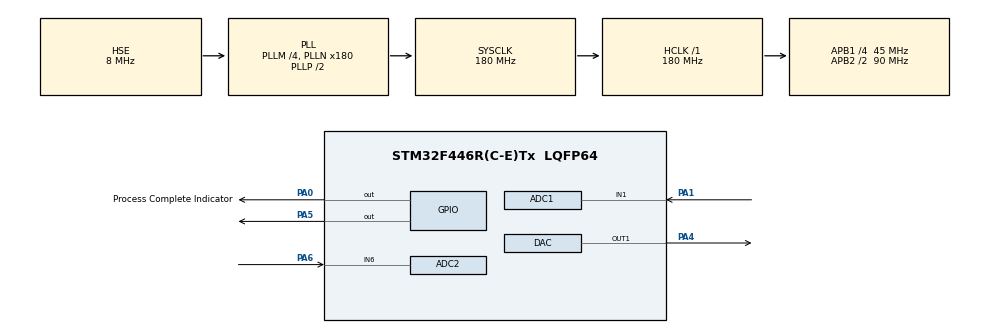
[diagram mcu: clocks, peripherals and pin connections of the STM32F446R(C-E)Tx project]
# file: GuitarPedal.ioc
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ADC1.Channel-0\#ChannelRegularConversion=ADC_CHANNEL_1
ADC1.ClockPrescaler=ADC_CLOCK_SYNC_PCLK_DIV4
ADC1.DMAContinuousRequests=ENABLE
ADC1.ExternalTrigConv=ADC_EXTERNALTRIGCONV_T2_TRGO
ADC1.NbrOfConversionFlag=1
ADC1.Rank-0\#ChannelRegularConversion=1
ADC1.SamplingTime-0\#ChannelRegularConversion=ADC_SAMPLETIME_15CYCLES
ADC1.master=1
ADC2.Channel-1\#ChannelRegularConversion=ADC_CHANNEL_6
ADC2.DMAContinuousRequests=ENABLE
ADC2.DiscontinuousConvMode=DISABLE
ADC2.EOCSelection=ADC_EOC_SEQ_CONV
ADC2.ExternalTrigConv=ADC_EXTERNALTRIGCONV_T3_TRGO
ADC2.NbrOfConversion=1
ADC2.NbrOfConversionFlag=1
ADC2.Rank-1\#ChannelRegularConversion=1
ADC2.SamplingTime-1\#ChannelRegularConversion=ADC_SAMPLETIME_28CYCLES
ADC2.ScanConvMode=DISABLE
DAC.DAC_Trigger=DAC_TRIGGER_T2_TRGO
Dma.ADC1.1.Direction=DMA_PERIPH_TO_MEMORY
Dma.ADC1.1.FIFOMode=DMA_FIFOMODE_DISABLE
Dma.ADC1.1.Instance=DMA2_Stream0
Dma.ADC1.1.MemDataAlignment=DMA_MDATAALIGN_HALFWORD
Dma.ADC1.1.MemInc=DMA_MINC_ENABLE
Dma.ADC1.1.Mode=DMA_CIRCULAR
Dma.ADC1.1.PeriphDataAlignment=DMA_PDATAALIGN_HALFWORD
Dma.ADC1.1.PeriphInc=DMA_PINC_DISABLE
Dma.ADC1.1.Priority=DMA_PRIORITY_HIGH
Dma.ADC2.2.Direction=DMA_PERIPH_TO_MEMORY
Dma.ADC2.2.FIFOMode=DMA_FIFOMODE_DISABLE
Dma.ADC2.2.Instance=DMA2_Stream2
Dma.ADC2.2.MemDataAlignment=DMA_MDATAALIGN_HALFWORD
Dma.ADC2.2.MemInc=DMA_MINC_ENABLE
Dma.ADC2.2.Mode=DMA_CIRCULAR
Dma.ADC2.2.PeriphDataAlignment=DMA_PDATAALIGN_HALFWORD
Dma.ADC2.2.PeriphInc=DMA_PINC_DISABLE
Dma.ADC2.2.Priority=DMA_PRIORITY_LOW
Dma.DAC1.0.Direction=DMA_MEMORY_TO_PERIPH
Dma.DAC1.0.FIFOMode=DMA_FIFOMODE_DISABLE
Dma.DAC1.0.Instance=DMA1_Stream5
Dma.DAC1.0.MemDataAlignment=DMA_MDATAALIGN_HALFWORD
Dma.DAC1.0.MemInc=DMA_MINC_ENABLE
Dma.DAC1.0.Mode=DMA_CIRCULAR
Dma.DAC1.0.PeriphDataAlignment=DMA_PDATAALIGN_HALFWORD
Dma.DAC1.0.PeriphInc=DMA_PINC_DISABLE
Dma.DAC1.0.Priority=DMA_PRIORITY_HIGH
Dma.Request0=DAC1
Dma.Request1=ADC1
Dma.Request2=ADC2
Mcu.Family=STM32F4
Mcu.Name=STM32F446R(C-E)Tx
Mcu.Package=LQFP64
NVIC.DMA1_Stream5_IRQn=true\:0\:0\:false\:false\:true\:false\:true\:true
NVIC.DMA2_Stream0_IRQn=true\:0\:0\:false\:false\:true\:false\:true\:true
NVIC.DMA2_Stream2_IRQn=true\:0\:0\:false\:false\:true\:false\:true\:true
NVIC.PriorityGroup=NVIC_PRIORITYGROUP_4
PA0-WKUP.GPIO_Label=Process Complete Indicator
PA0-WKUP.Signal=GPIO_Output
PA1.Signal=ADCx_IN1
PA4.Signal=COMP_DAC1_group
PA5.Signal=GPIO_Output
PA6.Signal=ADCx_IN6
PH0-OSC_IN.Mode=HSE-External-Oscillator
PH0-OSC_IN.Signal=RCC_OSC_IN
PH1-OSC_OUT.Mode=HSE-External-Oscillator
PH1-OSC_OUT.Signal=RCC_OSC_OUT
ProjectManager.HeapSize=0x200
ProjectManager.StackSize=0x400
ProjectManager.TargetToolchain=STM32CubeIDE
RCC.AHBFreq_Value=180000000
RCC.APB1CLKDivider=RCC_HCLK_DIV4
RCC.APB1Freq_Value=45000000
RCC.APB1TimFreq_Value=90000000
RCC.APB2CLKDivider=RCC_HCLK_DIV2
RCC.APB2Freq_Value=90000000
RCC.APB2TimFreq_Value=180000000
RCC.CortexFreq_Value=180000000
RCC.HCLKFreq_Value=180000000
RCC.HSE_VALUE=8000000
RCC.PLLM=4
RCC.PLLN=180
RCC.PLLSourceVirtual=RCC_PLLSOURCE_HSE
RCC.SYSCLKFreq_VALUE=180000000
RCC.SYSCLKSource=RCC_SYSCLKSOURCE_PLLCLK
RCC.USBFreq_Value=180000000
RCC.VCOOutputFreq_Value=360000000
SH.ADCx_IN1.0=ADC1_IN1,IN1
SH.ADCx_IN6.0=ADC2_IN6,IN6
SH.COMP_DAC1_group.0=DAC_OUT1,DAC_OUT1
TIM2.AutoReloadPreload=TIM_AUTORELOAD_PRELOAD_ENABLE
TIM2.Period=468
TIM2.TIM_MasterOutputTrigger=TIM_TRGO_UPDATE
TIM3.AutoReloadPreload=TIM_AUTORELOAD_PRELOAD_ENABLE
TIM3.Period=8999
TIM3.Prescaler=9
TIM3.TIM_MasterOutputTrigger=TIM_TRGO_UPDATE
TIM6.AutoReloadPreload=TIM_AUTORELOAD_PRELOAD_ENABLE
TIM6.Period=468
TIM6.TIM_MasterOutputTrigger=TIM_TRGO_UPDATE
VP_TIM2_VS_ClockSourceINT.Mode=Internal
VP_TIM3_VS_ClockSourceINT.Mode=Internal
VP_TIM6_VS_ClockSourceINT.Mode=Enable_Timer
board=custom

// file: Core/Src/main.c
/* USER CODE BEGIN Header */
/**
 ******************************************************************************
 * @file           : main.c
 * @brief          : Main program body
 ******************************************************************************
 * @attention
 *
 * Copyright (c) 2026 STMicroelectronics.
 * All rights reserved.
 *
 * This software is licensed under terms that can be found in the LICENSE file
 * in the root directory of this software component.
 * If no LICENSE file comes with this software, it is provided AS-IS.
 *
 ******************************************************************************
 */
/* USER CODE END Header */
#include "main.h"
#include "adc.h"
#include "dac.h"
#include "dma.h"
#include "tim.h"
#include "gpio.h"

/* USER CODE BEGIN Includes */
#include <math.h>
#include <stdio.h>
#include <string.h>
#include "ola.h"
#include "arm_math.h"
#include "phase_vocoder.h"
/* USER CODE END Includes */

/* USER CODE BEGIN PTD */
#define FIR_NUM_TAPS 80
#define POLYPHASE_TAPS 20
#define UPSAMPLE_FACTOR 4
#define DOWNSAMPLE_FACTOR 4
#define WSOLA

typedef struct _Biquad
{
  float b0, b1, b2;
  float a1, a2;
  float x1, x2;
  float y1, y2;
} Biquad;
/* USER CODE END PTD */

/* USER CODE BEGIN PD */
#define BUFFER_SIZE 256
#define UPSAMPLE_BUFFER_SIZE (UPSAMPLE_FACTOR * BUFFER_SIZE)
// FIR_NUM_TAPS defined in the private typedef section; it is used by FIR struct

/* USER CODE END PD */

/* USER CODE BEGIN PV */
static float decim_state[FIR_NUM_TAPS + UPSAMPLE_BUFFER_SIZE - 1];
static float interp_state[FIR_NUM_TAPS / UPSAMPLE_FACTOR + BUFFER_SIZE - 1];

const float h_decimation_coeffs[FIR_NUM_TAPS] = {
    -0.00046170067f,
    -0.0006826209f,
    -0.00052289446f,
    9.0989922e-19f,
    0.00066670505f,
    0.0010935766f,
    0.00090502407f,
    -1.4736314e-18f,
    -0.001250687f,
    -0.0020762829f,
    -0.0017179494f,
    2.4273441e-18f,
    0.0023232347f,
    0.0037952333f,
    0.0030862971f,
    -3.6728746e-18f,
    -0.0040320467f,
    -0.0064817758f,
    -0.0051934653f,
    5.0820239e-18f,
    0.0066164049f,
    0.010529813f,
    0.0083678022f,
    -6.5097524e-18f,
    -0.010550481f,
    -0.016761257f,
    -0.013331607f,
    7.8091081e-18f,
    0.017002164f,
    0.02733178f,
    0.022115644f,
    -8.846352e-18f,
    -0.029864374f,
    -0.050256344f,
    -0.043358808f,
    9.5147237e-18f,
    0.0740235f,
    0.15820688f,
    0.22474334f,
    0.25f,
    0.22474334f,
    0.15820688f,
    0.0740235f,
    9.5147237e-18f,
    -0.043358808f,
    -0.050256344f,
    -0.029864374f,
    -8.846352e-18f,
    0.022115644f,
    0.02733178f,
    0.017002164f,
    7.8091081e-18f,
    -0.013331607f,
    -0.016761257f,
    -0.010550481f,
    -6.5097524e-18f,
    0.0083678022f,
    0.010529813f,
    0.0066164049f,
    5.0820239e-18f,
    -0.0051934653f,
    -0.0064817758f,
    -0.0040320467f,
    -3.6728746e-18f,
    0.0030862971f,
    0.0037952333f,
    0.0023232347f,
    2.4273441e-18f,
    -0.0017179494f,
    -0.0020762829f,
    -0.001250687f,
    -1.4736314e-18f,
    0.00090502407f,
    0.0010935766f,
    0.00066670505f,
    9.0989922e-19f,
    -0.00052289446f,
    -0.0006826209f,
    -0.00046170067f,
    0.0f};
const float h_interpolation_coeffs[FIR_NUM_TAPS] = {
    -0.0018468027f, -0.0027304836f, -0.0020915779f, 3.6395969e-18f,
    0.0026668202f, 0.0043743064f, 0.0036200963f, -5.8945254e-18f,
    -0.0050027479f, -0.0083051317f, -0.0068717977f, 9.7093765e-18f,
    0.0092929389f, 0.015180933f, 0.012345189f, -1.4691498e-17f,
    -0.016128187f, -0.025927103f, -0.020773861f, 2.0328096e-17f,
    0.026465619f, 0.04211925f, 0.033471209f, -2.603901e-17f,
    -0.042201922f, -0.067045027f, -0.053326428f, 3.1236432e-17f,
    0.068008656f, 0.10932712f, 0.088462575f, -3.5385408e-17f,
    -0.1194575f, -0.20102538f, -0.17343523f, 3.8058895e-17f,
    0.296094f, 0.63282751f, 0.89897337f, 1.0f,
    0.89897337f, 0.63282751f, 0.296094f, 3.8058895e-17f,
    -0.17343523f, -0.20102538f, -0.1194575f, -3.5385408e-17f,
    0.088462575f, 0.10932712f, 0.068008656f, 3.1236432e-17f,
    -0.053326428f, -0.067045027f, -0.042201922f, -2.603901e-17f,
    0.033471209f, 0.04211925f, 0.026465619f, 2.0328096e-17f,
    -0.020773861f, -0.025927103f, -0.016128187f, -1.4691498e-17f,
    0.012345189f, 0.015180933f, 0.0092929389f, 9.7093765e-18f,
    -0.0068717977f, -0.0083051317f, -0.0050027479f, -5.8945254e-18f,
    0.0036200963f, 0.0043743064f, 0.0026668202f, 3.6395969e-18f,
    -0.0020915779f, -0.0027304836f, -0.0018468027f, 0.0f};
#ifdef WSOLA
    OLA_State s;
#else
  Phase_Vocoder pv;
#endif
float processInputBuffer[BUFFER_SIZE] = {0.0f};
float processOutputBuffer[BUFFER_SIZE] = {0.0f};

static arm_fir_decimate_instance_f32 decim;
static arm_fir_interpolate_instance_f32 interp;

float oversampledInputBuffer[UPSAMPLE_BUFFER_SIZE] = {0.0f};
float oversampledOutputBuffer[UPSAMPLE_BUFFER_SIZE] = {0.0f};
volatile uint16_t adc_buffer[UPSAMPLE_BUFFER_SIZE * 2] = {0};
volatile uint16_t out_buffer[UPSAMPLE_BUFFER_SIZE * 2] = {0};
volatile uint16_t pot_params[1] = {0}; /* Dry/Wet potentiometer reading */
float dry_wet = 0.f;
/* USER CODE END PV */

void SystemClock_Config(void);
/* USER CODE BEGIN PFP */
void process_block();
/* USER CODE END PFP */

int main(void)
{

  /* MCU Configuration--------------------------------------------------------*/

  /* Reset of all peripherals, Initializes the Flash interface and the Systick. */
  HAL_Init();

  /* Configure the system clock */
  SystemClock_Config();

  /* Initialize all configured peripherals */
  MX_GPIO_Init();
  MX_DMA_Init();
  MX_DAC_Init();
  MX_ADC1_Init();
  MX_TIM2_Init();
  MX_ADC2_Init();
  MX_TIM3_Init();
  MX_TIM6_Init();
  /* USER CODE BEGIN 2 */
#ifdef WSOLA
  OLA_Init(&s);
#else
  pv_init(&pv);
#endif
  if (arm_fir_decimate_init_f32(&decim, FIR_NUM_TAPS, DOWNSAMPLE_FACTOR,
                                h_decimation_coeffs, decim_state, UPSAMPLE_BUFFER_SIZE) != ARM_MATH_SUCCESS)
    Error_Handler();
  if (arm_fir_interpolate_init_f32(&interp, UPSAMPLE_FACTOR, FIR_NUM_TAPS,
                                   h_interpolation_coeffs, interp_state, BUFFER_SIZE) != ARM_MATH_SUCCESS)
    Error_Handler();

  HAL_ADC_Start_DMA(&hadc2, (uint32_t *)pot_params, 1);
  HAL_ADC_Start_DMA(&hadc1, (uint32_t *)adc_buffer, UPSAMPLE_BUFFER_SIZE * 2);
  HAL_DAC_Start_DMA(&hdac, DAC_CHANNEL_1,
                    (uint32_t *)out_buffer, UPSAMPLE_BUFFER_SIZE * 2, DAC_ALIGN_12B_R);

  HAL_TIM_Base_Start(&htim2); // ADC timer
  HAL_TIM_Base_Start(&htim3); // Potentiometer polling timer

  /* USER CODE END 2 */

  /* Infinite loop */
  while (1)
  {

  }
}

void SystemClock_Config(void)
{
  RCC_OscInitTypeDef RCC_OscInitStruct = {0};
  RCC_ClkInitTypeDef RCC_ClkInitStruct = {0};

  /** Configure the main internal regulator output voltage
  */
  __HAL_RCC_PWR_CLK_ENABLE();
  __HAL_PWR_VOLTAGESCALING_CONFIG(PWR_REGULATOR_VOLTAGE_SCALE1);

  /** Initializes the RCC Oscillators according to the specified parameters
  * in the RCC_OscInitTypeDef structure.
  */
  RCC_OscInitStruct.OscillatorType = RCC_OSCILLATORTYPE_HSE;
  RCC_OscInitStruct.HSEState = RCC_HSE_ON;
  RCC_OscInitStruct.PLL.PLLState = RCC_PLL_ON;
  RCC_OscInitStruct.PLL.PLLSource = RCC_PLLSOURCE_HSE;
  RCC_OscInitStruct.PLL.PLLM = 4;
  RCC_OscInitStruct.PLL.PLLN = 180;
  RCC_OscInitStruct.PLL.PLLP = RCC_PLLP_DIV2;
  RCC_OscInitStruct.PLL.PLLQ = 2;
  RCC_OscInitStruct.PLL.PLLR = 2;
  if (HAL_RCC_OscConfig(&RCC_OscInitStruct) != HAL_OK)
  {
    Error_Handler();
  }

  /** Activate the Over-Drive mode
  */
  if (HAL_PWREx_EnableOverDrive() != HAL_OK)
  {
    Error_Handler();
  }

  /** Initializes the CPU, AHB and APB buses clocks
  */
  RCC_ClkInitStruct.ClockType = RCC_CLOCKTYPE_HCLK|RCC_CLOCKTYPE_SYSCLK
                              |RCC_CLOCKTYPE_PCLK1|RCC_CLOCKTYPE_PCLK2;
  RCC_ClkInitStruct.SYSCLKSource = RCC_SYSCLKSOURCE_PLLCLK;
  RCC_ClkInitStruct.AHBCLKDivider = RCC_SYSCLK_DIV1;
  RCC_ClkInitStruct.APB1CLKDivider = RCC_HCLK_DIV4;
  RCC_ClkInitStruct.APB2CLKDivider = RCC_HCLK_DIV2;

  if (HAL_RCC_ClockConfig(&RCC_ClkInitStruct, FLASH_LATENCY_5) != HAL_OK)
  {
    Error_Handler();
  }
}

/* USER CODE BEGIN 4 */

void HAL_ADC_ConvHalfCpltCallback(ADC_HandleTypeDef *hadc)
{
  if (hadc == &hadc1)
  {
    process_block(&adc_buffer[0], &out_buffer[0]);
  }
}
void HAL_ADC_ConvCpltCallback(ADC_HandleTypeDef *hadc)
{
  if (hadc == &hadc1)
  {
    process_block(&adc_buffer[UPSAMPLE_BUFFER_SIZE], &out_buffer[UPSAMPLE_BUFFER_SIZE]);
  }
  else if (hadc == &hadc2)
  {
    dry_wet = *pot_params / 4095.0f;
  }
}

void process_block(uint16_t *input_buffer, uint16_t *output_buffer)
{

  HAL_GPIO_WritePin(GPIOA, GPIO_PIN_0, GPIO_PIN_SET);

  for (int i = 0; i < UPSAMPLE_BUFFER_SIZE; ++i)
  {
    oversampledInputBuffer[i] = (input_buffer[i] - 2048) / 2048.0f;
  }

  HAL_GPIO_WritePin(GPIOA, GPIO_PIN_2, GPIO_PIN_SET);
  arm_fir_decimate_f32(&decim, oversampledInputBuffer, processInputBuffer, UPSAMPLE_BUFFER_SIZE);
  HAL_GPIO_WritePin(GPIOA, GPIO_PIN_2, GPIO_PIN_RESET);
  #ifdef WSOLA
    OLA_Process(&s, processInputBuffer, processOutputBuffer, BUFFER_SIZE);
  #else
    //HAL_GPIO_WritePin(GPIOA, GPIO_PIN_0, GPIO_PIN_SET);
    pv_process(&pv, processInputBuffer, processOutputBuffer, BUFFER_SIZE);
    //HAL_GPIO_WritePin(GPIOA, GPIO_PIN_0, GPIO_PIN_RESET);
  #endif
  for(size_t i; i < BUFFER_SIZE; ++i) {
    processOutputBuffer[i] = dry_wet * processOutputBuffer[i] + (1 - dry_wet) * processInputBuffer[i];
  }

  /**
   * Upsample to 48kHz * UPSAMPLE_FACTOR,
   * using polyphase interpolation (79 + 1 zero-pad)-tap FIR filter.
   */
  arm_fir_interpolate_f32(&interp, processOutputBuffer, oversampledOutputBuffer, BUFFER_SIZE);

  /**
   * Scaling buffer back to DAC's 12 bit format, centered at 2048.
   * Values are cast to int32_t for more headroom, clamped, then
   * cast to uint16_t to avoid wraparound distortion
   */
  for (int i = 0; i < UPSAMPLE_BUFFER_SIZE; ++i)
  {
    int32_t out_clamped = (int32_t)(oversampledOutputBuffer[i] * 2048.0f + 2048.0f);
    if (out_clamped > 4095)
      out_clamped = 4095;
    if (out_clamped < 0)
      out_clamped = 0;
    output_buffer[i] = (uint16_t)out_clamped;
  }
  HAL_GPIO_WritePin(GPIOA, GPIO_PIN_0, GPIO_PIN_RESET);
}

/* USER CODE END 4 */

void Error_Handler(void)
{
  __disable_irq();
  while (1)
  {
  }
}
